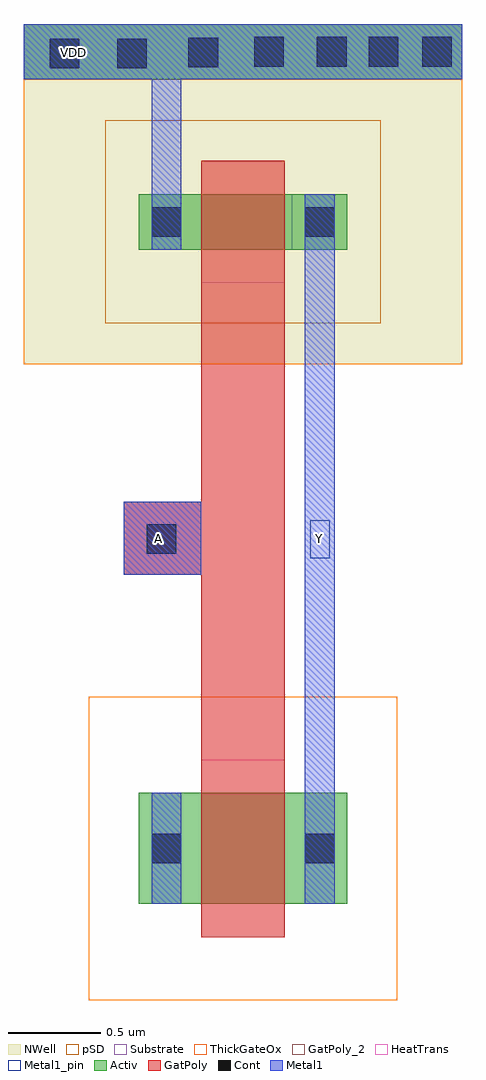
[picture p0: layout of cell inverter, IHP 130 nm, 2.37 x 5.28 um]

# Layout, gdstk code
import gdstk
lib = gdstk.Library(unit=1e-6, precision=5e-09)
def R(c, l, rs):  # rectangles x0, y0, x1, y1
    for r in rs: c.add(gdstk.rectangle(r[:2], r[2:], *l))
Activ = (1, 0)
GatPoly = (5, 0)
GatPoly_2 = (5, 2)
Cont = (6, 0)
Metal1 = (8, 0)
Metal1_pin = (8, 2)
pSD = (14, 0)
NWell = (31, 0)
Substrate = (40, 0)
ThickGateOx = (44, 0)
HeatTrans = (51, 0)

nmoshv = lib.new_cell('nmosHV')
R(nmoshv, Activ, [(0,0,0.3,0.3), (0,0,1.13,0.6), (0.83,0,1.13,0.3)])
R(nmoshv, GatPoly, [(0.34,-0.18,0.79,0.78)])
R(nmoshv, GatPoly_2, [(0.34,-0.18,0.79,0.78)])
R(nmoshv, Cont, [(0.07,0.22,0.23,0.38), (0.9,0.22,1.06,0.38)])
R(nmoshv, Metal1, [(0.07,0,0.23,0.6), (0.9,0,1.06,0.6)])
R(nmoshv, Metal1_pin, [(0.07,0,0.23,0.6), (0.9,0,1.06,0.6)])
R(nmoshv, ThickGateOx, [(-0.27,-0.52,1.4,1.12)])
R(nmoshv, HeatTrans, [(0.34,-0.18,0.79,0.78)])
nmoshv.add(gdstk.Label('nmosHV', (0.565,0.3), layer=63, texttype=0))
nmoshv.add(gdstk.Label('nmosHV', (0.565,0.3), layer=51, texttype=0))

pmoshv_1 = lib.new_cell('pmosHV$1')
R(pmoshv_1, Activ, [(0,0,0.3,0.3), (0,0,1.13,0.3), (0.83,0,1.13,0.3)])
R(pmoshv_1, GatPoly, [(0.34,-0.18,0.79,0.48)])
R(pmoshv_1, GatPoly_2, [(0.34,-0.18,0.79,0.48)])
R(pmoshv_1, Cont, [(0.07,0.07,0.23,0.23), (0.9,0.07,1.06,0.23)])
R(pmoshv_1, Metal1, [(0.07,0,0.23,0.3), (0.9,0,1.06,0.3)])
R(pmoshv_1, Metal1_pin, [(0.07,0,0.23,0.3), (0.9,0,1.06,0.3)])
R(pmoshv_1, pSD, [(-0.18,-0.4,1.31,0.7)])
R(pmoshv_1, NWell, [(-0.62,-0.62,1.75,0.92)])
R(pmoshv_1, Substrate, [(0.83,0,1.13,0.3)])
R(pmoshv_1, ThickGateOx, [(-0.62,-0.62,1.75,0.92)])
R(pmoshv_1, HeatTrans, [(0.34,-0.18,0.79,0.48)])
pmoshv_1.add(gdstk.Label('pmosHV', (0.565,0.15), layer=63, texttype=0))
pmoshv_1.add(gdstk.Label('pmos', (0.565,0.15), layer=51, texttype=0))

inverter = lib.new_cell('inverter')
R(inverter, Activ, [(2.165,5.615,4.535,5.915)])
R(inverter, GatPoly, [(3.125,0.975,3.575,5.175), (2.705,2.935,3.125,3.33)])
R(inverter, Cont, [(2.83,3.05,2.99,3.21), (2.305,5.675,2.465,5.835), (2.67,5.675,2.83,5.835), (3.055,5.68,3.215,5.84), (3.41,5.685,3.57,5.845), (3.75,5.685,3.91,5.845), (4.03,5.685,4.19,5.845), (4.32,5.685,4.48,5.845)])
R(inverter, Metal1, [(3.685,1.155,3.845,4.995), (2.705,2.935,3.125,3.33), (2.855,4.995,3.015,5.615), (2.165,5.615,4.535,5.915)])
R(inverter, Metal1_pin, [(3.715,3.025,3.82,3.23), (2.83,3.05,2.99,3.21), (2.165,5.615,4.535,5.915)])
R(inverter, NWell, [(2.165,5.615,4.535,5.915)])
inverter.add(gdstk.Reference(nmoshv, (2.785,1.155)))
inverter.add(gdstk.Reference(pmoshv_1, (2.785,4.695)))
inverter.add(gdstk.Label('Y', (3.765,3.13), layer=8, texttype=25))
inverter.add(gdstk.Label('A', (2.895,3.13), layer=8, texttype=25))
inverter.add(gdstk.Label('VDD', (2.435,5.76), layer=8, texttype=25))

lib.write_gds('inverter.gds')
